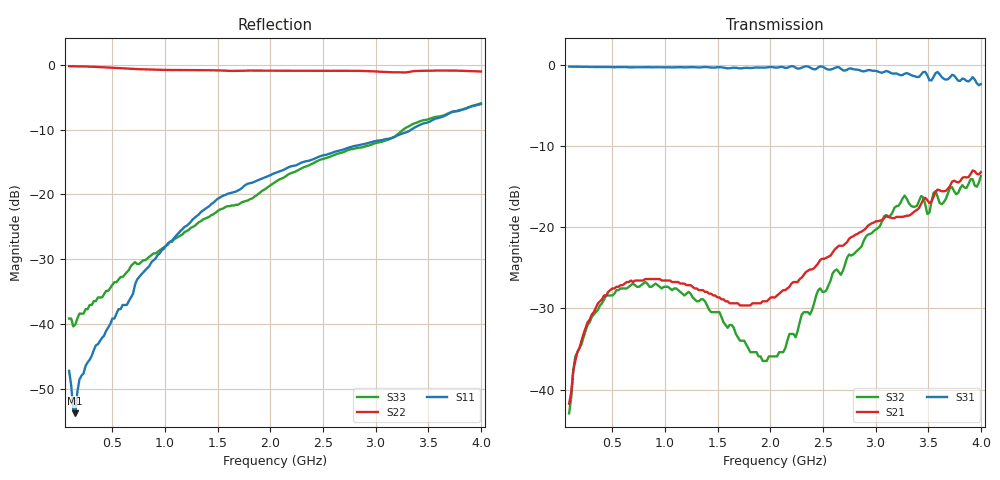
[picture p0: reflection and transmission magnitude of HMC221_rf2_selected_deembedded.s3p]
!Hittite Microwave Corporation
!12 Elizabeth Drive
!Chelmsford, MA 01824
!Tel: 978-250-3343
!Fax: 978-250-3373
!Device: HMC221, DC - 3 GHz GaAs MMIC SPDT Switch in 6-lead SOT26 plastic package
!Misc: Port 1 = RFC, Port 2 = RF1, Port 3 = RF2, RF2 Selected, Bias: +3VDC
# MHZ S MA R 50
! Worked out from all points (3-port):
!   201 points, 90 MHz to 4 GHz, reference 50 ohm
!   strongest paths, dB at 90 MHz, 1.067 GHz, 2.045 GHz, 3.022 GHz, 4 GHz:
!     S31: -0.2, -0.3, -0.3, -0.8, -2.3
!     S21: -41.7, -26.7, -28.6, -19.3, -13.2
!     S32: -42.9, -27.7, -35.9, -20.1, -13.7
!   lowest |S11| = -53.8 dB at 148.7 MHz (marker M1), VSWR 1.00, Z = 50.2 - j0.0611 ohm
!   |S11| at or under -10 dB: start of sweep to 3.342 GHz
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90  0.004344 -46.0  0.007757 88.2  0.981 -0.4
    0.008176 87.3  0.975 -19.3  0.007729 80.1
    0.981 -0.4  0.007132 77.4  0.011 -22.2
148.65  0.002042 -17.3  0.015 86.7  0.978 -0.6
        0.015 85.6  0.972 -30.8  0.016 82.6
        0.978 -0.5  0.016 84.4  0.00988 -8.4
187.75  0.003716 -2.3  0.018 80.8  0.978 -0.5
        0.018 79.4  0.97 -38.6  0.017 74.8
        0.979 -0.6  0.018 74.2  0.012 -19.4
461.45  0.009378 -34.7  0.04 62.8  0.974 -0.5
        0.04 62.4  0.952 -86.7  0.037 50.7
        0.975 -0.5  0.038 49.9  0.018 -44.3
950.2  0.035 -91.5  0.048 49.4  0.971 -0.3
       0.048 48.6  0.915 -144.8  0.043 21.0
       0.971 -0.3  0.043 19.9  0.037 -83.2
1380.3  0.077 -121.1  0.041 52.6  0.973 -0.4
        0.04 53.5  0.908 -178.3  0.034 -0.7
        0.975 -0.4  0.035 -2.5  0.065 -108.3
2045  0.146 -161.9  0.039 106.8  0.972 -0.6
      0.037 106.1  0.9 144.5  0.016 -93.8
      0.967 -1.1  0.016 -93.1  0.124 -145.9
3276.65  0.299 151.9  0.121 133.9  0.917 -7.0
         0.117 141.7  0.872 102.1  0.154 175.7
         0.886 -6.7  0.157 174.4  0.322 167.7
3491.7  0.358 147.2  0.158 145.5  0.887 -7.1
        0.147 145.0  0.9 96.2  0.147 169.5
        0.865 -13.0  0.121 164.1  0.377 159.1
4000  0.497 130.3  0.21 138.5  0.84 -17.1
      0.219 147.8  0.887 80.5  0.211 161.2
      0.765 -12.0  0.207 168.3  0.504 146.9
